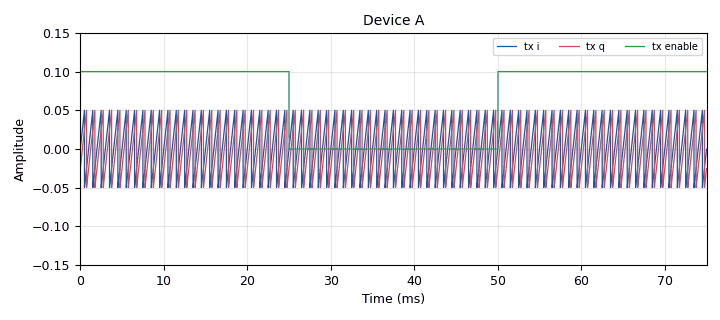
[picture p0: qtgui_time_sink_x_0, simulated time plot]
options:
  parameters:
    generate_options: qt_gui
    id: demo_no_burst
    output_language: python
    title: demo_no_burst
  states: {}

blocks:
- name: samp_rate
  id: variable
  parameters:
    value: '400000'
  states: {}
- name: analog_sig_source_x_0
  id: analog_sig_source_x
  parameters:
    amp: '0.1'
    freq: '1000'
    offset: (-0.1/2)*complex(1,1)
    phase: '0'
    samp_rate: samp_rate
    type: complex
    waveform: analog.GR_SAW_WAVE
  states: {}
- name: analog_sig_source_x_0_0
  id: analog_sig_source_x
  parameters:
    amp: '1'
    freq: '20'
    offset: '0'
    phase: '0'
    samp_rate: samp_rate
    type: short
    waveform: analog.GR_SQR_WAVE
  states: {}
- name: blocks_burst_tagger_0
  id: blocks_burst_tagger
  parameters:
    false_key: tx_eob
    false_value: 'True'
    true_key: tx_sob
    true_value: 'True'
    type: complex
  states: {}
- name: blocks_complex_to_float_0
  id: blocks_complex_to_float
  parameters: {}
  states: {}
- name: blocks_short_to_float_0
  id: blocks_short_to_float
  parameters:
    scale: '10'
  states: {}
- name: qtgui_time_sink_x_0
  id: qtgui_time_sink_x
  parameters:
    grid: 'True'
    gui_hint: '[1,1,1,1]'
    label1: tx i
    label2: tx q
    label3: tx enable
    name: '"Device A"'
    nconnections: '3'
    size: '30000'
    srate: samp_rate
    type: float
    ymax: '0.15'
    ymin: '-0.15'
  states: {}
- name: qtgui_time_sink_x_0_0
  id: qtgui_time_sink_x
  parameters:
    grid: 'True'
    gui_hint: '[2,1,1,1]'
    label1: rx i
    label2: rx q
    name: '"Device B"'
    size: '30000'
    srate: samp_rate
    type: complex
    ymax: '0.15'
    ymin: '-0.15'
  states: {}
- name: uhd_usrp_sink_0_0
  id: uhd_usrp_sink
  parameters:
    ant0: '"TX/RX"'
    center_freq0: '2422000000'
    comment: 'Note: Different device than receiver!'
    dev_addr: '"addr=192.168.0.221"'
    gain0: '0.0'
    gain_type0: normalized
    samp_rate: samp_rate
    start_time: '1.0'
    sync: sync
    type: fc32
  states: {}
- name: uhd_usrp_source_0
  id: uhd_usrp_source
  parameters:
    ant0: '"TX/RX"'
    center_freq0: '2422000000'
    comment: 'Note: Different device than sender!'
    dev_addr: '"addr=192.168.0.225"'
    gain0: '1'
    gain_type0: normalized
    samp_rate: samp_rate
    sync: pc_clock
    type: fc32
  states: {}

connections:
- [analog_sig_source_x_0, '0', blocks_burst_tagger_0, '0']
- [analog_sig_source_x_0_0, '0', blocks_burst_tagger_0, '1']
- [analog_sig_source_x_0_0, '0', blocks_short_to_float_0, '0']
- [blocks_burst_tagger_0, '0', blocks_complex_to_float_0, '0']
- [blocks_burst_tagger_0, '0', uhd_usrp_sink_0_0, '0']
- [blocks_complex_to_float_0, '0', qtgui_time_sink_x_0, '0']
- [blocks_complex_to_float_0, '1', qtgui_time_sink_x_0, '1']
- [blocks_short_to_float_0, '0', qtgui_time_sink_x_0, '2']
- [uhd_usrp_source_0, '0', qtgui_time_sink_x_0_0, '0']

metadata:
  file_format: 1
  grc_version: 3.10.9.2
